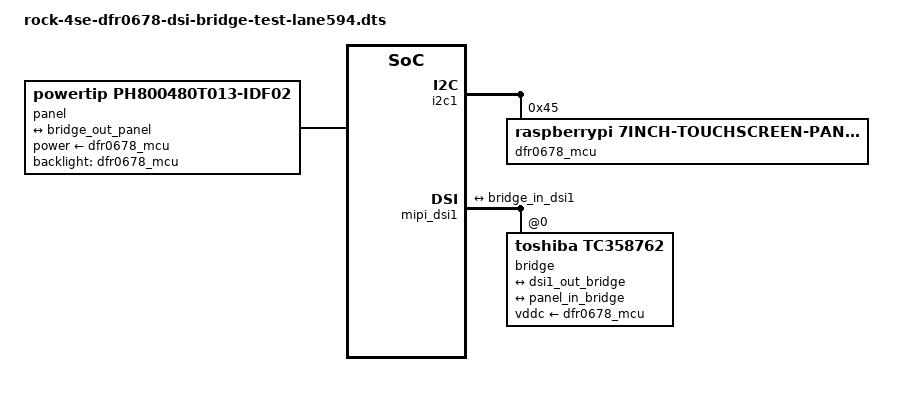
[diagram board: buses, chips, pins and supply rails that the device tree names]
// SPDX-License-Identifier: (GPL-2.0+ OR MIT)
/*
 * EXPERIMENTAL: DFR0678 on the ROCK 4SE with the mainline tc358762 driver and
 * panel-simple mode (800x480, 24.75 MHz), with DSI1 fed by DSI0's PLL
 * (rockchip,dsi-dsi0) and its lane rate pinned to 24 x the pixel clock
 * (rockchip,lane-rate = 594; the PLL lands on 592 Mbps).
 *
 * Tests whether the blank screen is the TC358762 deriving its pixel clock
 * from the DSI byte clock (lane rate / 24): at mainline's default 752 Mbps
 * that is ~31 MHz against a 24.75 MHz input.
 *
 * Needs a kernel with rk3399-dsi1-dsi0-pll.patch and
 * dsi-lane-rate-override.patch, and without dfr0678-radxa-timing.patch.
 * Do not load together with another overlay that claims i2c1 0x45.
 */

/dts-v1/;
/plugin/;

&{/} {
	panel {
		compatible = "powertip,ph800480t013-idf02";
		power-supply = <&dfr0678_mcu>;
		backlight = <&dfr0678_mcu>;

		port {
			panel_in_bridge: endpoint {
				remote-endpoint = <&bridge_out_panel>;
			};
		};
	};
};

&i2c1 {
	#address-cells = <1>;
	#size-cells = <0>;
	status = "okay";

	dfr0678_mcu: regulator@45 {
		compatible = "raspberrypi,7inch-touchscreen-panel-regulator";
		reg = <0x45>;
	};
};

&mipi_dsi1 {
	#address-cells = <1>;
	#size-cells = <0>;
	status = "okay";
	rockchip,dsi-dsi0 = <&mipi_dsi>;
	rockchip,lane-rate = <594>;

	bridge@0 {
		compatible = "toshiba,tc358762";
		reg = <0>;
		vddc-supply = <&dfr0678_mcu>;

		ports {
			#address-cells = <1>;
			#size-cells = <0>;

			port@0 {
				reg = <0>;

				bridge_in_dsi1: endpoint {
					remote-endpoint = <&dsi1_out_bridge>;
				};
			};

			port@1 {
				reg = <1>;

				bridge_out_panel: endpoint {
					remote-endpoint = <&panel_in_bridge>;
				};
			};
		};
	};

	ports {
		#address-cells = <1>;
		#size-cells = <0>;

		port@1 {
			reg = <1>;

			dsi1_out_bridge: endpoint {
				remote-endpoint = <&bridge_in_dsi1>;
			};
		};
	};
};
